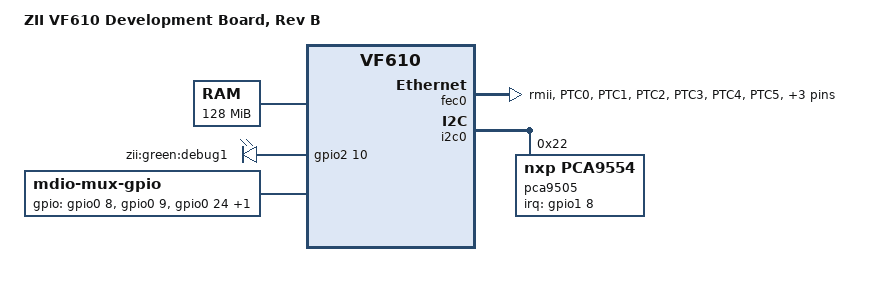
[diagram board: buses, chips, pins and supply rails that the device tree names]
/*
 * Copyright 2013 Freescale Semiconductor, Inc.
 *
 * This program is free software; you can redistribute it and/or modify
 * it under the terms of the GNU General Public License as published by
 * the Free Software Foundation; either version 2 of the License, or
 * (at your option) any later version.
 */

/dts-v1/;
#include "vf610-zii-dev.dtsi"

/ {
	model = "ZII VF610 Development Board, Rev B";
	compatible = "zii,vf610dev-b", "zii,vf610dev", "fsl,vf610";

	chosen {
		bootargs = "console=ttyLP0,115200n8";
		stdout-path = &uart0;
	};

	memory {
		reg = <0x80000000 0x8000000>;
	};

	gpio-leds {
		compatible = "gpio-leds";
		pinctrl-0 = <&pinctrl_leds_debug>;
		pinctrl-names = "default";

		debug_1 {
			label = "zii:green:debug1";
			gpios = <&gpio2 10 GPIO_ACTIVE_HIGH>;
		};
	};

	mdio-mux {
		compatible = "mdio-mux-gpio";
		pinctrl-0 = <&pinctrl_mdio_mux>;
		pinctrl-names = "default";
		gpios = <&gpio0 8  GPIO_ACTIVE_HIGH
			 &gpio0 9  GPIO_ACTIVE_HIGH
			 &gpio0 24 GPIO_ACTIVE_HIGH
			 &gpio0 25 GPIO_ACTIVE_HIGH>;
		mdio-parent-bus = <&mdio1>;
		#address-cells = <1>;
		#size-cells = <0>;

		mdio_mux_1: mdio@1 {
			reg = <1>;
			#address-cells = <1>;
			#size-cells = <0>;
		};

		mdio_mux_2: mdio@2 {
			reg = <2>;
			#address-cells = <1>;
			#size-cells = <0>;
		};

		mdio_mux_4: mdio@4 {
			reg = <4>;
			#address-cells = <1>;
			#size-cells = <0>;
		};

		mdio_mux_8: mdio@8 {
			reg = <8>;
			#address-cells = <1>;
			#size-cells = <0>;
		};
	};

	dsa@0 {
		compatible = "marvell,dsa";
		#address-cells = <2>;
		#size-cells = <0>;

		dsa,ethernet = <&fec1>;
		dsa,mii-bus = <&mdio_mux_1>;

		/* 6352 - Primary - 7 ports */
		switch0: switch@2 {
			#address-cells = <1>;
			#size-cells = <0>;
			reg = <0x00 0>;
			eeprom-length = <512>;

			port@0 {
				reg = <0>;
				label = "lan0";
			};

			port@1 {
				reg = <1>;
				label = "lan1";
			};

			port@2 {
				reg = <2>;
				label = "lan2";
			};

			switch0port5: port@5 {
				reg = <5>;
				label = "dsa";
				phy-mode = "rgmii-txid";
				link = <&switch1port6
					&switch2port9>;
				fixed-link {
					speed = <1000>;
					full-duplex;
				};
			};

			port@6 {
				reg = <6>;
				label = "cpu";
				fixed-link {
					speed = <100>;
					full-duplex;
				};
			};

		};

		/* 6352 - Secondary - 7 ports */
		switch1: switch@0 {
			#address-cells = <1>;
			#size-cells = <0>;
			reg = <0x00 1>;
			eeprom-length = <512>;
			mii-bus = <&mdio_mux_2>;

			port@0 {
				reg = <0>;
				label = "lan3";
			};

			port@1 {
				reg = <1>;
				label = "lan4";
			};

			port@2 {
				reg = <2>;
				label = "lan5";
			};

			switch1port5: port@5 {
				reg = <5>;
				label = "dsa";
				link = <&switch2port9>;
				phy-mode = "rgmii-txid";
				fixed-link {
					speed = <1000>;
					full-duplex;
				};
			};

			switch1port6: port@6 {
				reg = <6>;
				label = "dsa";
				phy-mode = "rgmii-txid";
				link = <&switch0port5>;
				fixed-link {
					speed = <1000>;
					full-duplex;
				};
			};
		};

		/* 6185 - 10 ports */
		switch2: switch@6 {
			#address-cells = <1>;
			#size-cells = <0>;
			reg = <0x00 2>;
			mii-bus = <&mdio_mux_4>;

			port@0 {
				reg = <0>;
				label = "lan6";
			};

			port@1 {
				reg = <1>;
				label = "lan7";
			};

			port@2 {
				reg = <2>;
				label = "lan8";
			};

			port@3 {
				reg = <3>;
				label = "optical3";
				fixed-link {
					speed = <1000>;
					full-duplex;
				};
			};

			port@4 {
				reg = <4>;
				label = "optical4";
				fixed-link {
					speed = <1000>;
					full-duplex;
				};
			};

			switch2port9: port@9 {
				reg = <9>;
				label = "dsa";
				phy-mode = "rgmii-txid";
				link = <&switch1port5
					&switch0port5>;
				fixed-link {
					speed = <1000>;
					full-duplex;
				};
			};
		};
	};
};

&iomuxc {
	pinctrl-names = "default";
	pinctrl-0 = <&pinctrl_i2c_mux_reset>;

	vf610-zii {
		pinctrl_mdio_mux: pinctrl-mdio-mux {
			fsl,pins = <
				VF610_PAD_PTA18__GPIO_8	0x31c2
				VF610_PAD_PTA19__GPIO_9	0x31c2
				VF610_PAD_PTB2__GPIO_24	0x31c2
				VF610_PAD_PTB3__GPIO_25	0x31c2
			>;
		};
		pinctrl_fec0: fec0grp {
			fsl,pins = <
				VF610_PAD_PTC0__ENET_RMII0_MDC	0x30d2
				VF610_PAD_PTC1__ENET_RMII0_MDIO	0x30d3
				VF610_PAD_PTC2__ENET_RMII0_CRS	0x30d1
				VF610_PAD_PTC3__ENET_RMII0_RXD1	0x30d1
				VF610_PAD_PTC4__ENET_RMII0_RXD0	0x30d1
				VF610_PAD_PTC5__ENET_RMII0_RXER	0x30d1
				VF610_PAD_PTC6__ENET_RMII0_TXD1	0x30d2
				VF610_PAD_PTC7__ENET_RMII0_TXD0	0x30d2
				VF610_PAD_PTC8__ENET_RMII0_TXEN	0x30d2
			>;
		};

		pinctrl_leds_debug: pinctrl-leds-debug {
			fsl,pins = <
				 VF610_PAD_PTD20__GPIO_74	0x31c2
				 >;
		};
		pinctrl_pca9554_opt: pinctrl-pca95540-opt {
			fsl,pins = <
				VF610_PAD_PTB18__GPIO_40	0x219d
			>;
		};
	};
};

&fec0 {
	phy-mode = "rmii";
	pinctrl-names = "default";
	pinctrl-0 = <&pinctrl_fec0>;
	status = "okay";
};

&i2c0 {
	pca9505@20 {
		compatible = "nxp,pca9554";
		pinctrl-names = "default";
		pinctrl-0 = <&pinctrl_pca9554_opt>;
		reg = <0x22>;
		interrupt-parent = <&gpio1>;
		interrupts = <8 IRQ_TYPE_LEVEL_LOW>;
	};
};
